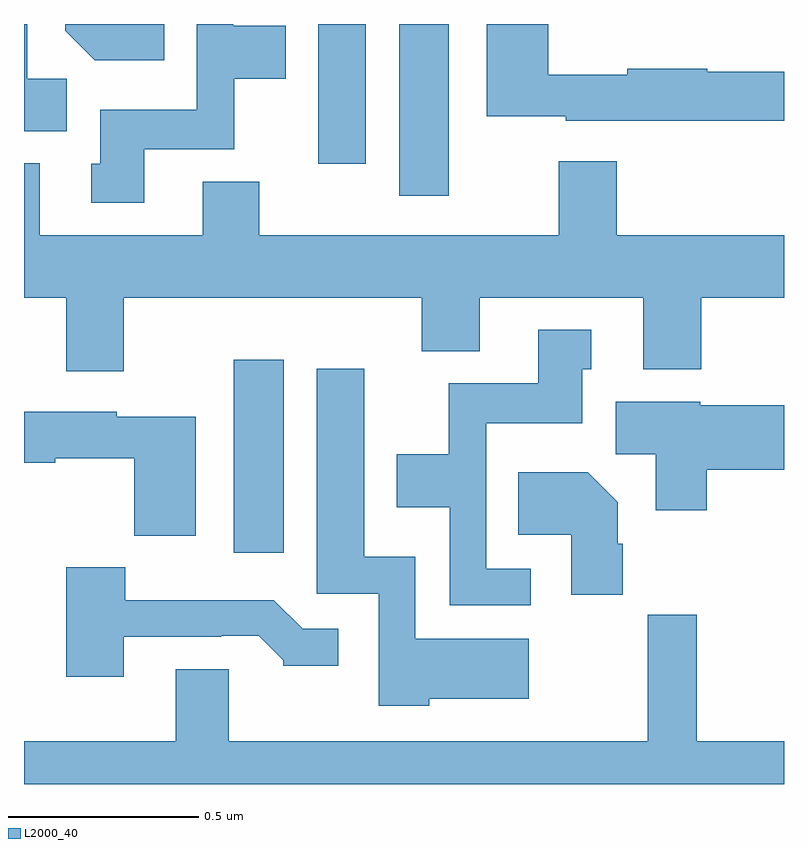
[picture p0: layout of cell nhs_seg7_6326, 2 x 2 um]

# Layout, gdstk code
import gdstk
lib = gdstk.Library(unit=1e-6, precision=1e-09)
def R(c, l, rs):  # rectangles x0, y0, x1, y1
    for r in rs: c.add(gdstk.rectangle(r[:2], r[2:], *l))
def P(c, l, *ps):  # polygons
    for p in ps: c.add(gdstk.Polygon(p, *l))
L2000_40 = (2000, 40)

nhs_seg7_6326 = lib.new_cell('nhs_seg7_6326')
R(nhs_seg7_6326, L2000_40, [(197.552,1002.609,197.683,1003.117), (197.987,1003.548,198.118,1004), (197.774,1003.632,197.899,1004)])
P(nhs_seg7_6326, L2000_40, [(197.113,1003.856),(197.008,1003.856),(197.008,1004),(197,1004),(197,1003.718),(197.113,1003.718)],
  [(198.698,1003.746),(199,1003.746),(199,1003.874),(198.798,1003.874),(198.798,1003.882),(198.588,1003.882),(198.588,1003.867),(198.38,1003.867),(198.38,1004),(198.218,1004),(198.218,1003.757),(198.426,1003.757),(198.426,1003.745),(198.698,1003.745)],
  [(197.317,1003.67),(197.553,1003.67),(197.553,1003.856),(197.689,1003.856),(197.689,1003.996),(197.55,1003.996),(197.55,1004),(197.454,1004),(197.454,1003.774),(197.201,1003.774),(197.201,1003.632),(197.177,1003.632),(197.177,1003.53),(197.317,1003.53)],
  [(197.369,1004),(197.108,1004),(197.108,1003.982),(197.186,1003.904),(197.369,1003.904)],
  [(197.263,1003.28),(198.047,1003.28),(198.047,1003.139),(198.199,1003.139),(198.199,1003.28),(198.629,1003.28),(198.629,1003.091),(198.782,1003.091),(198.782,1003.28),(199,1003.28),(199,1003.444),(198.56,1003.444),(198.56,1003.639),(198.407,1003.639),(198.407,1003.444),(197.619,1003.444),(197.619,1003.585),(197.471,1003.585),(197.471,1003.444),(197.041,1003.444),(197.041,1003.633),(197,1003.633),(197,1003.28),(197.111,1003.28),(197.111,1003.086),(197.263,1003.086)],
  [(198.334,1002.567),(198.216,1002.567),(198.216,1002.95),(198.469,1002.95),(198.469,1003.092),(198.493,1003.092),(198.493,1003.195),(198.353,1003.195),(198.353,1003.054),(198.118,1003.054),(198.118,1002.868),(197.981,1002.868),(197.981,1002.728),(198.12,1002.728),(198.12,1002.471),(198.334,1002.471)],
  [(198.066,1002.224),(198.328,1002.224),(198.328,1002.382),(198.03,1002.382),(198.03,1002.598),(197.896,1002.598),(197.896,1003.093),(197.771,1003.093),(197.771,1002.501),(197.934,1002.501),(197.934,1002.206),(198.066,1002.206)],
  [(198.797,1002.827),(199,1002.827),(199,1002.997),(198.78,1002.997),(198.78,1003.006),(198.557,1003.006),(198.557,1002.868),(198.662,1002.868),(198.662,1002.72),(198.797,1002.72)],
  [(197.452,1002.967),(197.244,1002.967),(197.244,1002.979),(197,1002.979),(197,1002.845),(197.082,1002.845),(197.082,1002.857),(197.29,1002.857),(197.29,1002.653),(197.452,1002.653)],
  [(198.575,1002.632),(198.562,1002.632),(198.562,1002.742),(198.484,1002.82),(198.301,1002.82),(198.301,1002.656),(198.44,1002.656),(198.44,1002.498),(198.575,1002.498)],
  [(197.263,1002.387),(197.519,1002.387),(197.519,1002.39),(197.618,1002.39),(197.682,1002.326),(197.682,1002.311),(197.827,1002.311),(197.827,1002.408),(197.733,1002.408),(197.657,1002.484),(197.266,1002.484),(197.266,1002.571),(197.111,1002.571),(197.111,1002.282),(197.263,1002.282)],
  [(199,1002.112),(198.77,1002.112),(198.77,1002.445),(198.642,1002.445),(198.642,1002.112),(197.539,1002.112),(197.539,1002.302),(197.399,1002.302),(197.399,1002.112),(197,1002.112),(197,1002),(199,1002)])

lib.write_gds('nhs_seg7_6326.gds')
